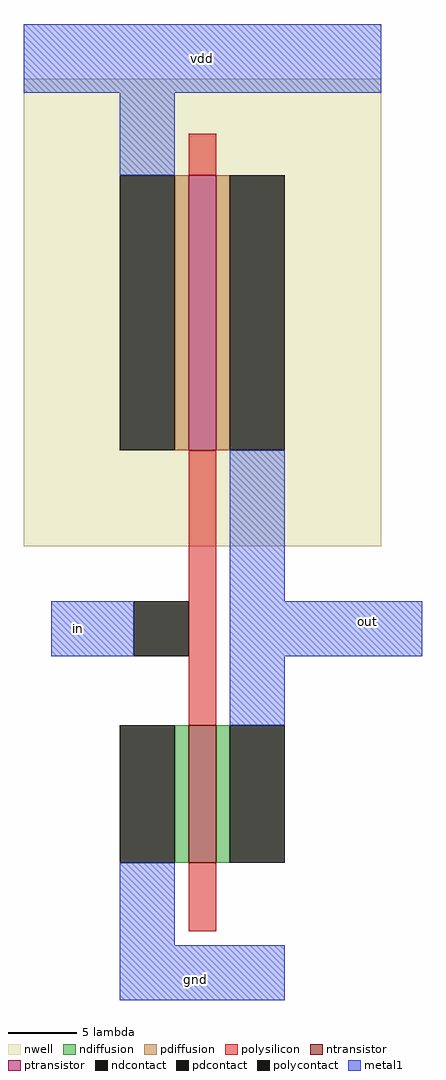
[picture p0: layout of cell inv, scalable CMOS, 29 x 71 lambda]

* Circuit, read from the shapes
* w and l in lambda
.subckt inv gnd in out vdd
M1 out in gnd VSUBS nfet w=10 l=2
M2 out in vdd n1 pfet w=20 l=2
.ends

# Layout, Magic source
magic
tech scmos
<< nwell >>
rect -9 -5 17 29
<< ntransistor >>
rect 3 -28 5 -18
<< ptransistor >>
rect 3 2 5 22
<< ndiffusion >>
rect 2 -28 3 -18
rect 5 -28 6 -18
<< pdiffusion >>
rect 2 2 3 22
rect 5 2 6 22
<< ndcontact >>
rect -2 -28 2 -18
rect 6 -28 10 -18
<< pdcontact >>
rect -2 2 2 22
rect 6 2 10 22
<< polysilicon >>
rect 3 22 5 25
rect 3 -18 5 2
rect 3 -33 5 -28
<< polycontact >>
rect -1 -13 3 -9
<< metal1 >>
rect -9 28 17 33
rect -2 22 2 28
rect 6 -9 10 2
rect -7 -13 -1 -9
rect 6 -13 20 -9
rect 6 -18 10 -13
rect -2 -34 2 -28
rect -2 -38 10 -34
<< labels >>
rlabel metal1 -9 28 17 33 5 vdd
rlabel metal1 12 -11 20 -10 7 out
rlabel metal1 -6 -12 -4 -10 3 in
rlabel metal1 1 -37 6 -36 1 gnd
<< end >>
